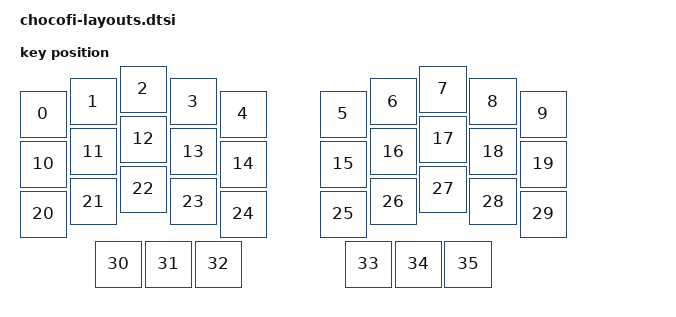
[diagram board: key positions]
#include <physical_layouts.dtsi>

/ {
    splitkb_5col_layout: splitkb_5col_layout {
        compatible = "zmk,physical-layout";
        display-name = "5 Column";

        keys  //                     w   h    x    y     rot    rx    ry
            // Left hand - Top row (5 keys)
            = <&key_physical_attrs 100 100    0   50       0     0     0>
            , <&key_physical_attrs 100 100  100   25       0     0     0>
            , <&key_physical_attrs 100 100  200    0       0     0     0>
            , <&key_physical_attrs 100 100  300   25       0     0     0>
            , <&key_physical_attrs 100 100  400   50       0     0     0>
            // Right hand - Top row (5 keys)
            , <&key_physical_attrs 100 100  600   50       0     0     0>
            , <&key_physical_attrs 100 100  700   25       0     0     0>
            , <&key_physical_attrs 100 100  800    0       0     0     0>
            , <&key_physical_attrs 100 100  900   25       0     0     0>
            , <&key_physical_attrs 100 100 1000   50       0     0     0>
            // Left hand - Home row (5 keys)
            , <&key_physical_attrs 100 100    0  150       0     0     0>
            , <&key_physical_attrs 100 100  100  125       0     0     0>
            , <&key_physical_attrs 100 100  200  100       0     0     0>
            , <&key_physical_attrs 100 100  300  125       0     0     0>
            , <&key_physical_attrs 100 100  400  150       0     0     0>
            // Right hand - Home row (5 keys)
            , <&key_physical_attrs 100 100  600  150       0     0     0>
            , <&key_physical_attrs 100 100  700  125       0     0     0>
            , <&key_physical_attrs 100 100  800  100       0     0     0>
            , <&key_physical_attrs 100 100  900  125       0     0     0>
            , <&key_physical_attrs 100 100 1000  150       0     0     0>
            // Left hand - Bottom row (5 keys)
            , <&key_physical_attrs 100 100    0  250       0     0     0>
            , <&key_physical_attrs 100 100  100  225       0     0     0>
            , <&key_physical_attrs 100 100  200  200       0     0     0>
            , <&key_physical_attrs 100 100  300  225       0     0     0>
            , <&key_physical_attrs 100 100  400  250       0     0     0>
            // Right hand - Bottom row (5 keys)
            , <&key_physical_attrs 100 100  600  250       0     0     0>
            , <&key_physical_attrs 100 100  700  225       0     0     0>
            , <&key_physical_attrs 100 100  800  200       0     0     0>
            , <&key_physical_attrs 100 100  900  225       0     0     0>
            , <&key_physical_attrs 100 100 1000  250       0     0     0>
            // Left thumb cluster (3 keys)
            , <&key_physical_attrs 100 100  150  350       0     0     0>
            , <&key_physical_attrs 100 100  250  350       0     0     0>
            , <&key_physical_attrs 100 100  350  350       0     0     0>
            // Right thumb cluster (3 keys)
            , <&key_physical_attrs 100 100  650  350       0     0     0>
            , <&key_physical_attrs 100 100  750  350       0     0     0>
            , <&key_physical_attrs 100 100  850  350       0     0     0>
            ;
    };

    splitkb_position_map {
        compatible = "zmk,physical-layout-position-map";

        complete;

        thirtysix {
            physical-layout = <&splitkb_5col_layout>;
            positions
                = < 0  1  2  3  4     5  6  7  8  9>
                , <10 11 12 13 14    15 16 17 18 19>
                , <20 21 22 23 24    25 26 27 28 29>
                , <      32 33 34    35 36 37      >;
        };
    };
};
